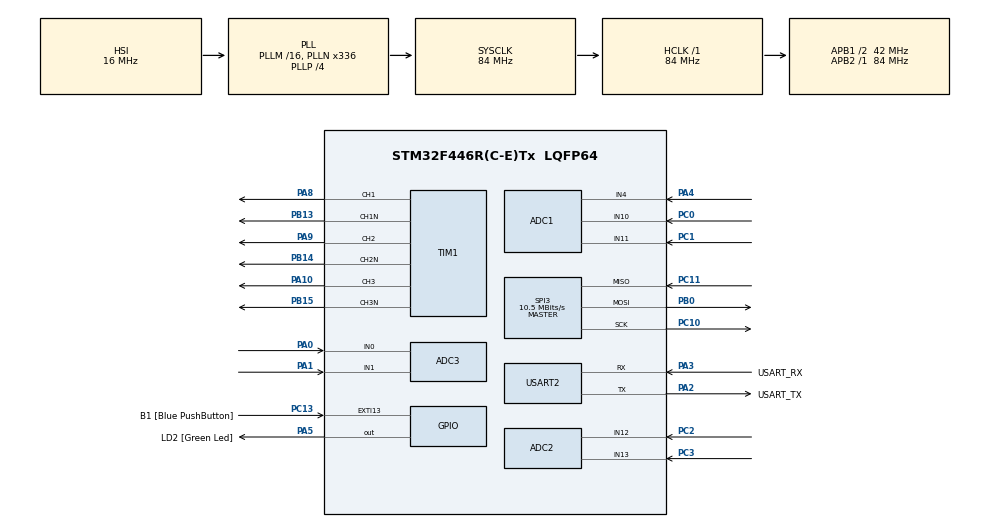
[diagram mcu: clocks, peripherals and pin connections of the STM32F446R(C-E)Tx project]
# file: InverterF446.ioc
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ADC1.Channel-1\#ChannelRegularConversion=ADC_CHANNEL_10
ADC1.NbrOfConversionFlag=1
ADC1.Rank-1\#ChannelRegularConversion=1
ADC1.SamplingTime-1\#ChannelRegularConversion=ADC_SAMPLETIME_28CYCLES
ADC1.master=1
ADC2.Channel-0\#ChannelRegularConversion=ADC_CHANNEL_12
ADC2.NbrOfConversionFlag=1
ADC2.Rank-0\#ChannelRegularConversion=1
ADC2.SamplingTime-0\#ChannelRegularConversion=ADC_SAMPLETIME_3CYCLES
ADC3.Channel-0\#ChannelRegularConversion=ADC_CHANNEL_0
ADC3.NbrOfConversionFlag=1
ADC3.Rank-0\#ChannelRegularConversion=1
ADC3.SamplingTime-0\#ChannelRegularConversion=ADC_SAMPLETIME_3CYCLES
FATFS._MAX_SS=4096
FATFS._USE_LFN=1
Mcu.Family=STM32F4
Mcu.Name=STM32F446R(C-E)Tx
Mcu.Package=LQFP64
NVIC.PriorityGroup=NVIC_PRIORITYGROUP_0
NVIC.TIM1_UP_TIM10_IRQn=true\:0\:0\:false\:false\:true\:true\:true\:true
NVIC.TIM2_IRQn=true\:0\:0\:false\:false\:true\:true\:true\:true
PA0-WKUP.Signal=ADCx_IN0
PA1.Signal=ADCx_IN1
PA10.Signal=S_TIM1_CH3
PA13.GPIO_Label=TMS
PA13.Mode=Serial_Wire
PA13.Signal=SYS_JTMS-SWDIO
PA14.GPIO_Label=TCK
PA14.Mode=Serial_Wire
PA14.Signal=SYS_JTCK-SWCLK
PA2.GPIO_Label=USART_TX
PA2.Mode=Asynchronous
PA2.Signal=USART2_TX
PA3.GPIO_Label=USART_RX
PA3.Mode=Asynchronous
PA3.Signal=USART2_RX
PA4.Signal=ADCx_IN4
PA5.GPIO_Label=LD2 [Green Led]
PA5.Signal=GPIO_Output
PA8.Signal=S_TIM1_CH1
PA9.Signal=S_TIM1_CH2
PB0.Mode=Full_Duplex_Master
PB0.Signal=SPI3_MOSI
PB13.Mode=Output Compare1 CH1 CH1N
PB13.Signal=TIM1_CH1N
PB14.Mode=Output Compare2 CH2 CH2N
PB14.Signal=TIM1_CH2N
PB15.Mode=Output Compare3 CH3 CH3N
PB15.Signal=TIM1_CH3N
PB3.GPIO_Label=SWO
PB3.Signal=SYS_JTDO-SWO
PC0.Signal=ADCx_IN10
PC1.Signal=ADCx_IN11
PC10.Mode=Full_Duplex_Master
PC10.Signal=SPI3_SCK
PC11.Mode=Full_Duplex_Master
PC11.Signal=SPI3_MISO
PC13.GPIO_Label=B1 [Blue PushButton]
PC13.GPIO_ModeDefaultEXTI=GPIO_MODE_IT_FALLING
PC13.Signal=GPXTI13
PC14-OSC32_IN.Mode=LSE-External-Oscillator
PC14-OSC32_IN.Signal=RCC_OSC32_IN
PC15-OSC32_OUT.Mode=LSE-External-Oscillator
PC15-OSC32_OUT.Signal=RCC_OSC32_OUT
PC2.Signal=ADCx_IN12
PC3.Signal=ADCx_IN13
PH0-OSC_IN.Mode=HSE-External-Oscillator
PH0-OSC_IN.Signal=RCC_OSC_IN
PH1-OSC_OUT.Mode=HSE-External-Oscillator
PH1-OSC_OUT.Signal=RCC_OSC_OUT
ProjectManager.HeapSize=0x200
ProjectManager.StackSize=0x400
ProjectManager.TargetToolchain=STM32CubeIDE
RCC.48MHZClocksFreq_Value=84000000
RCC.AHBFreq_Value=84000000
RCC.APB1CLKDivider=RCC_HCLK_DIV2
RCC.APB1Freq_Value=42000000
RCC.APB1TimFreq_Value=84000000
RCC.APB2Freq_Value=84000000
RCC.APB2TimFreq_Value=84000000
RCC.CortexFreq_Value=84000000
RCC.FLatency-AdvancedSettings=FLASH_LATENCY_2
RCC.HCLKFreq_Value=84000000
RCC.HSE_VALUE=8000000
RCC.HSI_VALUE=16000000
RCC.PLLN=336
RCC.PLLP=RCC_PLLP_DIV4
RCC.SYSCLKFreq_VALUE=84000000
RCC.SYSCLKSource=RCC_SYSCLKSOURCE_PLLCLK
RCC.USBFreq_Value=168000000
RCC.VCOOutputFreq_Value=336000000
SH.ADCx_IN0.0=ADC3_IN0,IN0
SH.ADCx_IN1.0=ADC3_IN1,IN1
SH.ADCx_IN10.0=ADC1_IN10,IN10
SH.ADCx_IN11.0=ADC1_IN11,IN11
SH.ADCx_IN12.0=ADC2_IN12,IN12
SH.ADCx_IN13.0=ADC2_IN13,IN13
SH.ADCx_IN4.0=ADC1_IN4,IN4
SH.S_TIM1_CH1.0=TIM1_CH1,Output Compare1 CH1 CH1N
SH.S_TIM1_CH2.0=TIM1_CH2,Output Compare2 CH2 CH2N
SH.S_TIM1_CH3.0=TIM1_CH3,Output Compare3 CH3 CH3N
SPI3.BaudRatePrescaler=SPI_BAUDRATEPRESCALER_4
SPI3.CalculateBaudRate=10.5 MBits/s
SPI3.Direction=SPI_DIRECTION_2LINES
SPI3.Mode=SPI_MODE_MASTER
SPI3.TIMode=SPI_TIMODE_DISABLE
SPI3.VirtualType=VM_MASTER
TIM1.AutoReloadPreload=TIM_AUTORELOAD_PRELOAD_ENABLE
TIM1.Channel-Output\ Compare1\ CH1\ CH1N=TIM_CHANNEL_1
TIM1.Channel-Output\ Compare2\ CH2\ CH2N=TIM_CHANNEL_2
TIM1.Channel-Output\ Compare3\ CH3\ CH3N=TIM_CHANNEL_3
TIM1.CounterMode=TIM_COUNTERMODE_CENTERALIGNED3
TIM1.DeadTime=125
TIM1.OC1Preload=ENABLE
TIM1.OC2Preload=ENABLE
TIM1.OC3Preload=ENABLE
TIM1.OCIdleState_1=TIM_OCIDLESTATE_RESET
TIM1.OCMode_1=TIM_OCMODE_TOGGLE
TIM1.OCMode_2=TIM_OCMODE_TOGGLE
TIM1.OCMode_3=TIM_OCMODE_TOGGLE
TIM1.OCNIdleState_1=TIM_OCNIDLESTATE_RESET
TIM1.OCNPolarity_1=TIM_OCNPOLARITY_HIGH
TIM1.Pulse-Output\ Compare1\ CH1\ CH1N=0
USART2.VirtualMode=VM_ASYNC
VP_FATFS_VS_Generic.Mode=User_defined
VP_TIM1_VS_ClockSourceINT.Mode=Internal
VP_TIM2_VS_ClockSourceINT.Mode=Internal
board=NUCLEO-F446RE

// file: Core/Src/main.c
/* USER CODE BEGIN Header */
/**
  ******************************************************************************
  * @file           : main.c
  * @brief          : Main program body
  ******************************************************************************
  * @attention
  *
  * Copyright (c) 2023 STMicroelectronics.
  * All rights reserved.
  *
  * This software is licensed under terms that can be found in the LICENSE file
  * in the root directory of this software component.
  * If no LICENSE file comes with this software, it is provided AS-IS.
  *
  ******************************************************************************
  */
/* USER CODE END Header */
#include "main.h"
#include "fatfs.h"

/* USER CODE BEGIN Includes */
#include "TimerConfig.h"
#include "Inverter.h"

#include "HelperFunc.h"

//#include <math.h>
#include <string.h> // sprintf
#include <stdio.h> // input/output
//#include <stdlib.h> //

/* USER CODE END Includes */

ADC_HandleTypeDef hadc1;
ADC_HandleTypeDef hadc2;
ADC_HandleTypeDef hadc3;

SPI_HandleTypeDef hspi3;

TIM_HandleTypeDef htim1;
TIM_HandleTypeDef htim2;

UART_HandleTypeDef huart2;

/* USER CODE BEGIN PV */
const float f_sw = 20e3;
const float Hz_Out = 50;
float RADIAL_SPEED = (Hz_Out * PI2) / f_sw;

float angle = 0;
float PWM1, PWM2, PWM3;
float val1, val2, val3, val4, val5, val6, val7;
float Mi = 0.8;
uint8_t TIM2_falg = 0;

/* USER CODE END PV */

void SystemClock_Config(void);
static void MX_GPIO_Init(void);
static void MX_USART2_UART_Init(void);
static void MX_TIM1_Init(void);
static void MX_ADC1_Init(void);
static void MX_ADC2_Init(void);
static void MX_ADC3_Init(void);
static void MX_TIM2_Init(void);
static void MX_SPI3_Init(void);

/* USER CODE BEGIN 0 */
void writeValueToUART(double value){
	char outputBuffer[256];
	uint8_t len = snprintf(outputBuffer, sizeof(outputBuffer), "Value: %f \r\n", value);
	HAL_UART_Transmit(&huart2, (uint8_t *)outputBuffer, len, 100);
}

uint8_t ADC_Selector(uint8_t ADC_number, uint8_t Channal){
	ADC_ChannelConfTypeDef sConfig = {0};
	sConfig.Rank = 1;
	sConfig.SamplingTime = ADC_SAMPLETIME_28CYCLES;
	if(ADC_number == 1){
		if(Channal == 0){
			sConfig.Channel = ADC_CHANNEL_0;
		}
		else if(Channal == 1){
			sConfig.Channel = ADC_CHANNEL_1;
		}
		else if(Channal == 2){
			sConfig.Channel = ADC_CHANNEL_2;
		}
		else if(Channal == 3){
			sConfig.Channel = ADC_CHANNEL_3;
		}
		else if(Channal == 4){
			sConfig.Channel = ADC_CHANNEL_4;
		}
		else if(Channal == 5){
			sConfig.Channel = ADC_CHANNEL_5;
		}
		else if(Channal == 6){
			sConfig.Channel = ADC_CHANNEL_6;
		}
		else if(Channal == 7){
			sConfig.Channel = ADC_CHANNEL_7;
		}
		else if(Channal == 8){
			sConfig.Channel = ADC_CHANNEL_8;
		}
		else if(Channal == 9){
			sConfig.Channel = ADC_CHANNEL_9;
		}
		else if(Channal == 10){
			sConfig.Channel = ADC_CHANNEL_10;
		}
		else if(Channal == 11){
			sConfig.Channel = ADC_CHANNEL_11;
		}
		else if(Channal == 12){
			sConfig.Channel = ADC_CHANNEL_12;
		}
		else if(Channal == 13){
			sConfig.Channel = ADC_CHANNEL_13;
		}
		else if(Channal == 14){
			sConfig.Channel = ADC_CHANNEL_14;
		}
		else if(Channal == 15){
			sConfig.Channel = ADC_CHANNEL_15;
		}
		if(HAL_ADC_ConfigChannel(&hadc1, &sConfig) != HAL_OK){
			Error_Handler();
		}
	}
	else if(ADC_number == 2){
		if(Channal == 0){
			sConfig.Channel = ADC_CHANNEL_0;
		}
		else if(Channal == 1){
			sConfig.Channel = ADC_CHANNEL_1;
		}
		else if(Channal == 2){
			sConfig.Channel = ADC_CHANNEL_2;
		}
		else if(Channal == 3){
			sConfig.Channel = ADC_CHANNEL_3;
		}
		else if(Channal == 4){
			sConfig.Channel = ADC_CHANNEL_4;
		}
		else if(Channal == 5){
			sConfig.Channel = ADC_CHANNEL_5;
		}
		else if(Channal == 6){
			sConfig.Channel = ADC_CHANNEL_6;
		}
		else if(Channal == 7){
			sConfig.Channel = ADC_CHANNEL_7;
		}
		else if(Channal == 8){
			sConfig.Channel = ADC_CHANNEL_8;
		}
		else if(Channal == 9){
			sConfig.Channel = ADC_CHANNEL_9;
		}
		else if(Channal == 10){
			sConfig.Channel = ADC_CHANNEL_10;
		}
		else if(Channal == 11){
			sConfig.Channel = ADC_CHANNEL_11;
		}
		else if(Channal == 12){
			sConfig.Channel = ADC_CHANNEL_12;
		}
		else if(Channal == 13){
			sConfig.Channel = ADC_CHANNEL_13;
		}
		else if(Channal == 14){
			sConfig.Channel = ADC_CHANNEL_14;
		}
		else if(Channal == 15){
			sConfig.Channel = ADC_CHANNEL_15;
		}
		if(HAL_ADC_ConfigChannel(&hadc2, &sConfig) != HAL_OK){
			Error_Handler();
		}
	}
	else if(ADC_number == 3){
		if(Channal == 0){
			sConfig.Channel = ADC_CHANNEL_0;
		}
		else if(Channal == 1){
			sConfig.Channel = ADC_CHANNEL_1;
		}
		else if(Channal == 2){
			sConfig.Channel = ADC_CHANNEL_2;
		}
		else if(Channal == 3){
			sConfig.Channel = ADC_CHANNEL_3;
		}
		else if(Channal == 4){
			sConfig.Channel = ADC_CHANNEL_4;
		}
		else if(Channal == 5){
			sConfig.Channel = ADC_CHANNEL_5;
		}
		else if(Channal == 6){
			sConfig.Channel = ADC_CHANNEL_6;
		}
		else if(Channal == 7){
			sConfig.Channel = ADC_CHANNEL_7;
		}
		else if(Channal == 8){
			sConfig.Channel = ADC_CHANNEL_8;
		}
		else if(Channal == 9){
			sConfig.Channel = ADC_CHANNEL_9;
		}
		else if(Channal == 10){
			sConfig.Channel = ADC_CHANNEL_10;
		}
		else if(Channal == 11){
			sConfig.Channel = ADC_CHANNEL_11;
		}
		else if(Channal == 12){
			sConfig.Channel = ADC_CHANNEL_12;
		}
		else if(Channal == 13){
			sConfig.Channel = ADC_CHANNEL_13;
		}
		else if(Channal == 14){
			sConfig.Channel = ADC_CHANNEL_14;
		}
		else if(Channal == 15){
			sConfig.Channel = ADC_CHANNEL_15;
		}
		if(HAL_ADC_ConfigChannel(&hadc3, &sConfig) != HAL_OK){
			Error_Handler();
		}
	}
	return HAL_OK;
}

/* USER CODE END 0 */

int main(void)
{

  /* MCU Configuration--------------------------------------------------------*/

  /* Reset of all peripherals, Initializes the Flash interface and the Systick. */
  HAL_Init();

  /* Configure the system clock */
  SystemClock_Config();

  /* Initialize all configured peripherals */
  MX_GPIO_Init();
  MX_USART2_UART_Init();
  MX_TIM1_Init();
  MX_ADC1_Init();
  MX_ADC2_Init();
  MX_ADC3_Init();
  MX_TIM2_Init();
  MX_SPI3_Init();
  MX_FATFS_Init();
  /* USER CODE BEGIN 2 */

HAL_TIM_PWM_Start(&htim1, TIM_CHANNEL_1);
HAL_TIMEx_PWMN_Start(&htim1, TIM_CHANNEL_1);
HAL_TIM_PWM_Start(&htim1, TIM_CHANNEL_2);
HAL_TIMEx_PWMN_Start(&htim1, TIM_CHANNEL_2);
HAL_TIM_PWM_Start(&htim1, TIM_CHANNEL_3);
HAL_TIMEx_PWMN_Start(&htim1, TIM_CHANNEL_3);

//TIM_freq(1, f_sw);
//writeValueToUART(TIM1->PSC);
//writeValueToUART(TIM1->ARR);

// TIM1 - 20 kHz
TIM1->PSC = 1;
TIM1->ARR = 2099;
// TIM1 - 1 Hz
//TIM1->PSC = 1343;
//TIM1->ARR = 62499;

//TIM_freq(2, 1.0f);
//writeValueToUART(TIM2->PSC);
//writeValueToUART(TIM2->ARR);

// TIM2 - 1 Hz
TIM2->PSC = 1;
TIM2->ARR = 41999998;

svm_block_init(TIM1->ARR, f_sw);

HAL_TIM_Base_Start_IT(&htim1);
HAL_TIM_Base_Start_IT(&htim2);

  /* USER CODE END 2 */

  /* Infinite loop */
  /* USER CODE BEGIN WHILE */

  while (1)
  {
if (TIM2_falg) {

	ADC_Selector(1, 10);
	ADC_Selector(2, 12);
	ADC_Selector(3, 0);

	// Start ADC Conversion
	HAL_ADC_Start(&hadc1);
	HAL_ADC_Start(&hadc2);
	HAL_ADC_Start(&hadc3);

	// Poll ADC1 Perihperal & TimeOut = 1Sec
	HAL_ADC_PollForConversion(&hadc1, 1000);
	HAL_ADC_PollForConversion(&hadc2, 1000);
	HAL_ADC_PollForConversion(&hadc3, 1000);

	// Read The ADC Conversion Result & Map It To PWM DutyCycle
	val1 =((double)HAL_ADC_GetValue(&hadc1) / 4095.0f) * 3.3f;
	val3 =((double)HAL_ADC_GetValue(&hadc2) / 4095.0f) * 3.3f;
	val5 =((double)HAL_ADC_GetValue(&hadc3) / 4095.0f) * 3.3f;

	ADC_Selector(1, 11);
	ADC_Selector(2, 13);
	ADC_Selector(3, 1);

	// Start ADC Conversion
	HAL_ADC_Start(&hadc1);
	HAL_ADC_Start(&hadc2);
	HAL_ADC_Start(&hadc3);

	// Poll ADC1 Perihperal & TimeOut = 1Sec
	HAL_ADC_PollForConversion(&hadc1, 1000);
	HAL_ADC_PollForConversion(&hadc2, 1000);
	HAL_ADC_PollForConversion(&hadc3, 1000);

	// Read The ADC Conversion Result & Map It To PWM DutyCycle
	val2 =((double)HAL_ADC_GetValue(&hadc1) / 4095.0f) * 3.3f;
	val4 =((double)HAL_ADC_GetValue(&hadc2) / 4095.0f) * 3.3f;
	val6 =((double)HAL_ADC_GetValue(&hadc3) / 4095.0f) * 3.3f;

	ADC_Selector(1, 4);

	// Start ADC Conversion
	HAL_ADC_Start(&hadc1);

	// Poll ADC1 Perihperal & TimeOut = 1Sec
	HAL_ADC_PollForConversion(&hadc1, 1000);

	// Read The ADC Conversion Result & Map It To PWM DutyCycle
	val7 =((double)HAL_ADC_GetValue(&hadc1) / 4095.0f) * 3.3f;

	char outputBuffer[256];
	uint8_t len = snprintf(outputBuffer, sizeof(outputBuffer), "val1: %f. val2: %f. val3: %f. val4: %f. val5: %f. val6: %f. val7: %f. \r\n", val1, val2, val3 ,val4, val5, val6, val7);
	HAL_UART_Transmit(&huart2, (uint8_t *)outputBuffer, len, 100);
	TIM2_falg = 0;
}
    /* USER CODE END WHILE */

  }
}

void SystemClock_Config(void)
{
  RCC_OscInitTypeDef RCC_OscInitStruct = {0};
  RCC_ClkInitTypeDef RCC_ClkInitStruct = {0};

  /** Configure the main internal regulator output voltage
  */
  __HAL_RCC_PWR_CLK_ENABLE();
  __HAL_PWR_VOLTAGESCALING_CONFIG(PWR_REGULATOR_VOLTAGE_SCALE3);

  /** Initializes the RCC Oscillators according to the specified parameters
  * in the RCC_OscInitTypeDef structure.
  */
  RCC_OscInitStruct.OscillatorType = RCC_OSCILLATORTYPE_HSI;
  RCC_OscInitStruct.HSIState = RCC_HSI_ON;
  RCC_OscInitStruct.HSICalibrationValue = RCC_HSICALIBRATION_DEFAULT;
  RCC_OscInitStruct.PLL.PLLState = RCC_PLL_ON;
  RCC_OscInitStruct.PLL.PLLSource = RCC_PLLSOURCE_HSI;
  RCC_OscInitStruct.PLL.PLLM = 16;
  RCC_OscInitStruct.PLL.PLLN = 336;
  RCC_OscInitStruct.PLL.PLLP = RCC_PLLP_DIV4;
  RCC_OscInitStruct.PLL.PLLQ = 2;
  RCC_OscInitStruct.PLL.PLLR = 2;
  if (HAL_RCC_OscConfig(&RCC_OscInitStruct) != HAL_OK)
  {
    Error_Handler();
  }

  /** Initializes the CPU, AHB and APB buses clocks
  */
  RCC_ClkInitStruct.ClockType = RCC_CLOCKTYPE_HCLK|RCC_CLOCKTYPE_SYSCLK
                              |RCC_CLOCKTYPE_PCLK1|RCC_CLOCKTYPE_PCLK2;
  RCC_ClkInitStruct.SYSCLKSource = RCC_SYSCLKSOURCE_PLLCLK;
  RCC_ClkInitStruct.AHBCLKDivider = RCC_SYSCLK_DIV1;
  RCC_ClkInitStruct.APB1CLKDivider = RCC_HCLK_DIV2;
  RCC_ClkInitStruct.APB2CLKDivider = RCC_HCLK_DIV1;

  if (HAL_RCC_ClockConfig(&RCC_ClkInitStruct, FLASH_LATENCY_2) != HAL_OK)
  {
    Error_Handler();
  }
}

static void MX_ADC1_Init(void)
{

  ADC_ChannelConfTypeDef sConfig = {0};

  /** Configure the global features of the ADC (Clock, Resolution, Data Alignment and number of conversion)
  */
  hadc1.Instance = ADC1;
  hadc1.Init.ClockPrescaler = ADC_CLOCK_SYNC_PCLK_DIV4;
  hadc1.Init.Resolution = ADC_RESOLUTION_12B;
  hadc1.Init.ScanConvMode = DISABLE;
  hadc1.Init.ContinuousConvMode = DISABLE;
  hadc1.Init.DiscontinuousConvMode = DISABLE;
  hadc1.Init.ExternalTrigConvEdge = ADC_EXTERNALTRIGCONVEDGE_NONE;
  hadc1.Init.ExternalTrigConv = ADC_SOFTWARE_START;
  hadc1.Init.DataAlign = ADC_DATAALIGN_RIGHT;
  hadc1.Init.NbrOfConversion = 1;
  hadc1.Init.DMAContinuousRequests = DISABLE;
  hadc1.Init.EOCSelection = ADC_EOC_SINGLE_CONV;
  if (HAL_ADC_Init(&hadc1) != HAL_OK)
  {
    Error_Handler();
  }

  /** Configure for the selected ADC regular channel its corresponding rank in the sequencer and its sample time.
  */
  sConfig.Channel = ADC_CHANNEL_10;
  sConfig.Rank = 1;
  sConfig.SamplingTime = ADC_SAMPLETIME_28CYCLES;
  if (HAL_ADC_ConfigChannel(&hadc1, &sConfig) != HAL_OK)
  {
    Error_Handler();
  }

}

static void MX_ADC2_Init(void)
{

  ADC_ChannelConfTypeDef sConfig = {0};

  /** Configure the global features of the ADC (Clock, Resolution, Data Alignment and number of conversion)
  */
  hadc2.Instance = ADC2;
  hadc2.Init.ClockPrescaler = ADC_CLOCK_SYNC_PCLK_DIV4;
  hadc2.Init.Resolution = ADC_RESOLUTION_12B;
  hadc2.Init.ScanConvMode = DISABLE;
  hadc2.Init.ContinuousConvMode = DISABLE;
  hadc2.Init.DiscontinuousConvMode = DISABLE;
  hadc2.Init.ExternalTrigConvEdge = ADC_EXTERNALTRIGCONVEDGE_NONE;
  hadc2.Init.ExternalTrigConv = ADC_SOFTWARE_START;
  hadc2.Init.DataAlign = ADC_DATAALIGN_RIGHT;
  hadc2.Init.NbrOfConversion = 1;
  hadc2.Init.DMAContinuousRequests = DISABLE;
  hadc2.Init.EOCSelection = ADC_EOC_SINGLE_CONV;
  if (HAL_ADC_Init(&hadc2) != HAL_OK)
  {
    Error_Handler();
  }

  /** Configure for the selected ADC regular channel its corresponding rank in the sequencer and its sample time.
  */
  sConfig.Channel = ADC_CHANNEL_12;
  sConfig.Rank = 1;
  sConfig.SamplingTime = ADC_SAMPLETIME_3CYCLES;
  if (HAL_ADC_ConfigChannel(&hadc2, &sConfig) != HAL_OK)
  {
    Error_Handler();
  }

}

static void MX_ADC3_Init(void)
{

  ADC_ChannelConfTypeDef sConfig = {0};

  /** Configure the global features of the ADC (Clock, Resolution, Data Alignment and number of conversion)
  */
  hadc3.Instance = ADC3;
  hadc3.Init.ClockPrescaler = ADC_CLOCK_SYNC_PCLK_DIV4;
  hadc3.Init.Resolution = ADC_RESOLUTION_12B;
  hadc3.Init.ScanConvMode = DISABLE;
  hadc3.Init.ContinuousConvMode = DISABLE;
  hadc3.Init.DiscontinuousConvMode = DISABLE;
  hadc3.Init.ExternalTrigConvEdge = ADC_EXTERNALTRIGCONVEDGE_NONE;
  hadc3.Init.ExternalTrigConv = ADC_SOFTWARE_START;
  hadc3.Init.DataAlign = ADC_DATAALIGN_RIGHT;
  hadc3.Init.NbrOfConversion = 1;
  hadc3.Init.DMAContinuousRequests = DISABLE;
  hadc3.Init.EOCSelection = ADC_EOC_SINGLE_CONV;
  if (HAL_ADC_Init(&hadc3) != HAL_OK)
  {
    Error_Handler();
  }

  /** Configure for the selected ADC regular channel its corresponding rank in the sequencer and its sample time.
  */
  sConfig.Channel = ADC_CHANNEL_0;
  sConfig.Rank = 1;
  sConfig.SamplingTime = ADC_SAMPLETIME_3CYCLES;
  if (HAL_ADC_ConfigChannel(&hadc3, &sConfig) != HAL_OK)
  {
    Error_Handler();
  }

}

static void MX_SPI3_Init(void)
{

  /* SPI3 parameter configuration*/
  hspi3.Instance = SPI3;
  hspi3.Init.Mode = SPI_MODE_MASTER;
  hspi3.Init.Direction = SPI_DIRECTION_2LINES;
  hspi3.Init.DataSize = SPI_DATASIZE_8BIT;
  hspi3.Init.CLKPolarity = SPI_POLARITY_LOW;
  hspi3.Init.CLKPhase = SPI_PHASE_1EDGE;
  hspi3.Init.NSS = SPI_NSS_SOFT;
  hspi3.Init.BaudRatePrescaler = SPI_BAUDRATEPRESCALER_4;
  hspi3.Init.FirstBit = SPI_FIRSTBIT_MSB;
  hspi3.Init.TIMode = SPI_TIMODE_DISABLE;
  hspi3.Init.CRCCalculation = SPI_CRCCALCULATION_DISABLE;
  hspi3.Init.CRCPolynomial = 10;
  if (HAL_SPI_Init(&hspi3) != HAL_OK)
  {
    Error_Handler();
  }

}

static void MX_TIM1_Init(void)
{

  TIM_ClockConfigTypeDef sClockSourceConfig = {0};
  TIM_MasterConfigTypeDef sMasterConfig = {0};
  TIM_OC_InitTypeDef sConfigOC = {0};
  TIM_BreakDeadTimeConfigTypeDef sBreakDeadTimeConfig = {0};

  htim1.Instance = TIM1;
  htim1.Init.Prescaler = 0;
  htim1.Init.CounterMode = TIM_COUNTERMODE_CENTERALIGNED3;
  htim1.Init.Period = 65535;
  htim1.Init.ClockDivision = TIM_CLOCKDIVISION_DIV1;
  htim1.Init.RepetitionCounter = 0;
  htim1.Init.AutoReloadPreload = TIM_AUTORELOAD_PRELOAD_ENABLE;
  if (HAL_TIM_Base_Init(&htim1) != HAL_OK)
  {
    Error_Handler();
  }
  sClockSourceConfig.ClockSource = TIM_CLOCKSOURCE_INTERNAL;
  if (HAL_TIM_ConfigClockSource(&htim1, &sClockSourceConfig) != HAL_OK)
  {
    Error_Handler();
  }
  if (HAL_TIM_OC_Init(&htim1) != HAL_OK)
  {
    Error_Handler();
  }
  sMasterConfig.MasterOutputTrigger = TIM_TRGO_RESET;
  sMasterConfig.MasterSlaveMode = TIM_MASTERSLAVEMODE_DISABLE;
  if (HAL_TIMEx_MasterConfigSynchronization(&htim1, &sMasterConfig) != HAL_OK)
  {
    Error_Handler();
  }
  sConfigOC.OCMode = TIM_OCMODE_TOGGLE;
  sConfigOC.Pulse = 0;
  sConfigOC.OCPolarity = TIM_OCPOLARITY_HIGH;
  sConfigOC.OCNPolarity = TIM_OCNPOLARITY_HIGH;
  sConfigOC.OCFastMode = TIM_OCFAST_DISABLE;
  sConfigOC.OCIdleState = TIM_OCIDLESTATE_RESET;
  sConfigOC.OCNIdleState = TIM_OCNIDLESTATE_RESET;
  if (HAL_TIM_OC_ConfigChannel(&htim1, &sConfigOC, TIM_CHANNEL_1) != HAL_OK)
  {
    Error_Handler();
  }
  __HAL_TIM_ENABLE_OCxPRELOAD(&htim1, TIM_CHANNEL_1);
  if (HAL_TIM_OC_ConfigChannel(&htim1, &sConfigOC, TIM_CHANNEL_2) != HAL_OK)
  {
    Error_Handler();
  }
  __HAL_TIM_ENABLE_OCxPRELOAD(&htim1, TIM_CHANNEL_2);
  if (HAL_TIM_OC_ConfigChannel(&htim1, &sConfigOC, TIM_CHANNEL_3) != HAL_OK)
  {
    Error_Handler();
  }
  __HAL_TIM_ENABLE_OCxPRELOAD(&htim1, TIM_CHANNEL_3);
  sBreakDeadTimeConfig.OffStateRunMode = TIM_OSSR_DISABLE;
  sBreakDeadTimeConfig.OffStateIDLEMode = TIM_OSSI_DISABLE;
  sBreakDeadTimeConfig.LockLevel = TIM_LOCKLEVEL_OFF;
  sBreakDeadTimeConfig.DeadTime = 125;
  sBreakDeadTimeConfig.BreakState = TIM_BREAK_DISABLE;
  sBreakDeadTimeConfig.BreakPolarity = TIM_BREAKPOLARITY_HIGH;
  sBreakDeadTimeConfig.AutomaticOutput = TIM_AUTOMATICOUTPUT_DISABLE;
  if (HAL_TIMEx_ConfigBreakDeadTime(&htim1, &sBreakDeadTimeConfig) != HAL_OK)
  {
    Error_Handler();
  }
  HAL_TIM_MspPostInit(&htim1);

}

static void MX_TIM2_Init(void)
{

  TIM_ClockConfigTypeDef sClockSourceConfig = {0};
  TIM_MasterConfigTypeDef sMasterConfig = {0};

  htim2.Instance = TIM2;
  htim2.Init.Prescaler = 0;
  htim2.Init.CounterMode = TIM_COUNTERMODE_UP;
  htim2.Init.Period = 4294967295;
  htim2.Init.ClockDivision = TIM_CLOCKDIVISION_DIV1;
  htim2.Init.AutoReloadPreload = TIM_AUTORELOAD_PRELOAD_DISABLE;
  if (HAL_TIM_Base_Init(&htim2) != HAL_OK)
  {
    Error_Handler();
  }
  sClockSourceConfig.ClockSource = TIM_CLOCKSOURCE_INTERNAL;
  if (HAL_TIM_ConfigClockSource(&htim2, &sClockSourceConfig) != HAL_OK)
  {
    Error_Handler();
  }
  sMasterConfig.MasterOutputTrigger = TIM_TRGO_RESET;
  sMasterConfig.MasterSlaveMode = TIM_MASTERSLAVEMODE_DISABLE;
  if (HAL_TIMEx_MasterConfigSynchronization(&htim2, &sMasterConfig) != HAL_OK)
  {
    Error_Handler();
  }

}

static void MX_USART2_UART_Init(void)
{

  huart2.Instance = USART2;
  huart2.Init.BaudRate = 115200;
  huart2.Init.WordLength = UART_WORDLENGTH_8B;
  huart2.Init.StopBits = UART_STOPBITS_1;
  huart2.Init.Parity = UART_PARITY_NONE;
  huart2.Init.Mode = UART_MODE_TX_RX;
  huart2.Init.HwFlowCtl = UART_HWCONTROL_NONE;
  huart2.Init.OverSampling = UART_OVERSAMPLING_16;
  if (HAL_UART_Init(&huart2) != HAL_OK)
  {
    Error_Handler();
  }

}

static void MX_GPIO_Init(void)
{
  GPIO_InitTypeDef GPIO_InitStruct = {0};

  /* GPIO Ports Clock Enable */
  __HAL_RCC_GPIOC_CLK_ENABLE();
  __HAL_RCC_GPIOH_CLK_ENABLE();
  __HAL_RCC_GPIOA_CLK_ENABLE();
  __HAL_RCC_GPIOB_CLK_ENABLE();

  /*Configure GPIO pin Output Level */
  HAL_GPIO_WritePin(LD2_GPIO_Port, LD2_Pin, GPIO_PIN_RESET);

  /*Configure GPIO pin : B1_Pin */
  GPIO_InitStruct.Pin = B1_Pin;
  GPIO_InitStruct.Mode = GPIO_MODE_IT_FALLING;
  GPIO_InitStruct.Pull = GPIO_NOPULL;
  HAL_GPIO_Init(B1_GPIO_Port, &GPIO_InitStruct);

  /*Configure GPIO pin : LD2_Pin */
  GPIO_InitStruct.Pin = LD2_Pin;
  GPIO_InitStruct.Mode = GPIO_MODE_OUTPUT_PP;
  GPIO_InitStruct.Pull = GPIO_NOPULL;
  GPIO_InitStruct.Speed = GPIO_SPEED_FREQ_LOW;
  HAL_GPIO_Init(LD2_GPIO_Port, &GPIO_InitStruct);

}

/* USER CODE BEGIN 4 */
void HAL_TIM_PeriodElapsedCallback(TIM_HandleTypeDef* htim){

	if(htim->Instance==TIM1){
		//writeValueToUART(1);
		angle = angle + RADIAL_SPEED;
	    if (angle > 6.2831853072f){
	    	angle = angle - 6.2831853072f;
	    }
	    svm_block(Mi, angle, &PWM1, &PWM2, &PWM3);

	    TIM1->CCR1 = PWM1;
	    TIM1->CCR2 = PWM2;
	    TIM1->CCR3 = PWM3;
	}
	else{
	}

	if(htim->Instance==TIM2){
		TIM2_falg = 1;

	}
	else{
	}

}

/* USER CODE END 4 */

void Error_Handler(void)
{
  /* USER CODE BEGIN Error_Handler_Debug */
  /* User can add his own implementation to report the HAL error return state */

  __disable_irq();

	char ErrorBuffer[256];
	uint8_t ErrorLen = snprintf(ErrorBuffer, sizeof(ErrorBuffer), "\r\n Error! Stuck in Error_Handler! \r\n");
	HAL_UART_Transmit(&huart2, (uint8_t *)ErrorBuffer, ErrorLen, 100);

  while (1)
  {
  }
  /* USER CODE END Error_Handler_Debug */
}
